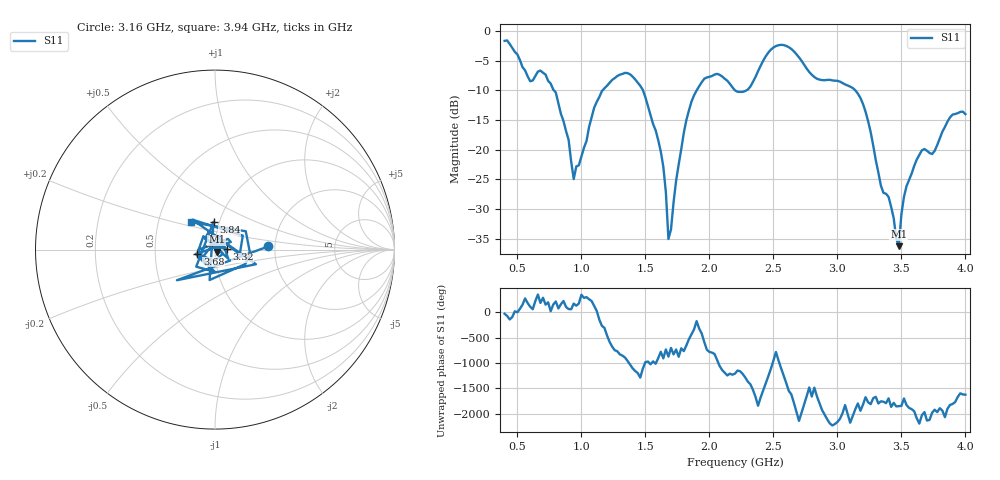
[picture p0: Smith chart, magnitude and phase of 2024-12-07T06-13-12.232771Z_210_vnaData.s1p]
!Created with skrf (http://scikit-rf.org).
# Hz S RI R 50.0
!freq ReS11 ImS11
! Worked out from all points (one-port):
!   181 points, 400 MHz to 4 GHz, reference 50 ohm
!   lowest |S11| = -36.3 dB at 3.48 GHz (marker M1), VSWR 1.03, Z = 51 - j1.18 ohm
!   |S11| at or under -10 dB: 784.7 MHz to 1.166 GHz (381.5 MHz wide, 39.1 % of centre); 1.481 GHz to 1.901 GHz (420.4 MHz wide, 24.9 % of centre); 3.14 GHz to end of sweep (the widest 3 of 4)
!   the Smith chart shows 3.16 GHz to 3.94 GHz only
!   S11 on the Smith chart (normalised r, x): 3.16 GHz: 1.84, +0.07; 3.32 GHz: 1.14, +0.01; 3.68 GHz: 0.82, -0.04; 3.84 GHz: 0.94, +0.30; 3.94 GHz: 0.73, +0.23
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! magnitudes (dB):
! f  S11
! 400 MHz  -1.7
! 600 MHz  -8.5
! 720 MHz  -7.4
! 860 MHz  -15.2
! 940 MHz  -25.0
! 1.1 GHz  -12.9
! 1.3 GHz  -7.4
! 1.46 GHz  -9.3
! 1.58 GHz  -16.7
! 1.64 GHz  -22.9
! 1.68 GHz  -35.0
! 1.76 GHz  -22.5
! 1.86 GHz  -11.9
! 1.96 GHz  -8.1
! 2.2 GHz  -10.0
! 2.3 GHz  -9.9
! 2.5 GHz  -2.8
! 2.66 GHz  -3.5
! 3.1 GHz  -9.4
! 3.16 GHz  -10.6
! 3.32 GHz  -23.8
! 3.48 GHz  -36.3
! 3.52 GHz  -28.0
! 3.56 GHz  -25.1
! 3.68 GHz  -19.9
! 3.84 GHz  -16.2
! 3.94 GHz  -13.9
! 4 GHz  -14.0
